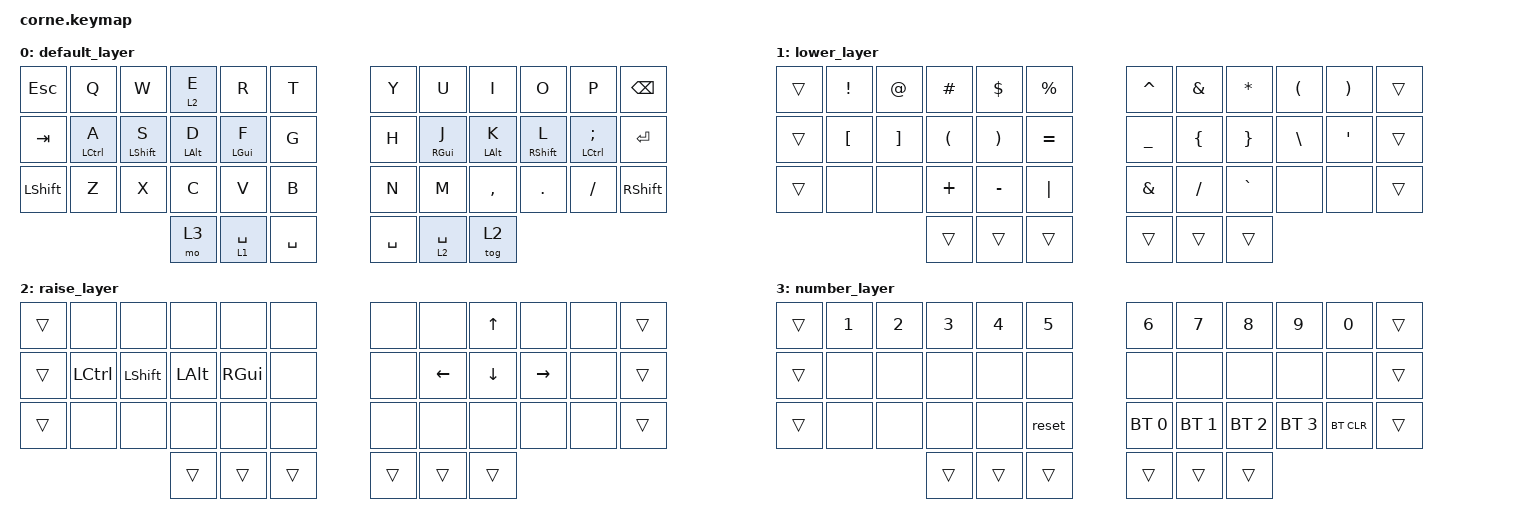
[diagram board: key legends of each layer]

/*
  * Copyright (c) 2020 The ZMK Contributors
  *
  * SPDX-License-Identifier: MIT
  */

 #include <behaviors.dtsi>
 #include <dt-bindings/zmk/keys.h>
 #include <dt-bindings/zmk/bt.h>

 / {
        behaviors {
                hm: homerow_mods {
                    compatible = "zmk,behavior-hold-tap";
                    label = "HOMEROW_MODS";
                    #binding-cells = <2>;
                    tapping-term-ms = <200>;
                    quick_tap_ms = <0>;
                    flavor = "tap-preferred";
                    bindings = <&kp>, <&kp>;
                };
        };
         keymap {
                 compatible = "zmk,keymap";

                 default_layer {
                         bindings = <
    &kp ESC   &kp Q       &kp W       &lt 2 E      &kp R      &kp T      &kp Y &kp U      &kp I      &kp O       &kp P          &kp BSPC
    &kp TAB   &hm LCTRL A &hm LSHFT S &hm LALT D &hm LGUI F &kp G      &kp H &hm RGUI J &hm LALT K &hm RSHFT L &hm LCTRL SEMI &kp RET
    &kp LSHFT &kp Z       &kp X       &kp C      &kp V      &kp B      &kp N &kp M      &kp COMMA  &kp DOT     &kp FSLH       &kp RSHFT
                                              &mo 3 &lt 1 SPACE &kp SPACE   &kp SPACE &lt 2 SPACE &tog 2
                         >;
                 };
                 lower_layer {
                         bindings = <
    &trans &kp EXCL &kp AT   &kp HASH &kp DLLR  &kp PRCNT      &kp CARET &kp AMPS &kp STAR  &kp LPAR  &kp RPAR &trans
    &trans &kp LBKT &kp RBKT &kp LPAR &kp RPAR  &kp EQUAL      &kp UNDER &kp LBRC &kp RBRC  &kp BSLH  &kp SQT  &trans
    &trans &none   &none   &kp PLUS &kp MINUS &kp PIPE       &kp AMPS  &kp FSLH &kp GRAVE &none    &none   &trans
                           	        &trans     &trans       &trans      &trans  &trans   &trans
                         >;
                 };

                 raise_layer {
                         bindings = <
    &trans &none     &none      &none     &none    &none          &none  &none     &kp UP   &none     &none &trans
    &trans &kp LCTRL &kp LSHIFT &kp LALT  &kp RGUI &none          &none  &kp LEFT  &kp DOWN &kp RIGHT &none &trans
    &trans &none     &none      &none     &none    &none          &none  &none     &none    &none     &none &trans
                     	     &trans &trans   &trans   &trans   &trans    &trans
                         >;
                 };
                 
                 number_layer {
                         bindings = <
    &trans &kp N1 &kp N2 &kp N3 &kp N4 &kp N5         &kp N6       &kp N7       &kp N8       &kp N9       &kp N0     &trans
    &trans &none  &none  &none  &none  &none          &none        &none        &none        &none        &none      &trans
    &trans &none  &none  &none  &none  &reset         &bt BT_SEL 0 &bt BT_SEL 1 &bt BT_SEL 2 &bt BT_SEL 3 &bt BT_CLR &trans
                           	        &trans     &trans       &trans      &trans  &trans   &trans
                         >;
                 };
         };
 };
